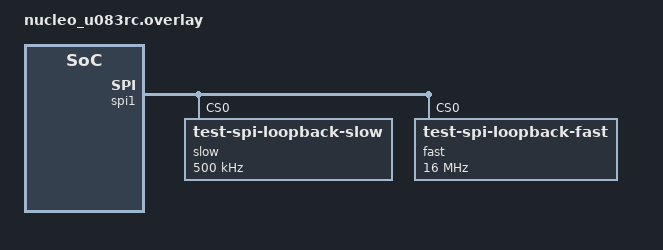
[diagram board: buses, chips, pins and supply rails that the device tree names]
/*
 * SPDX-FileCopyrightText: Copyright The Zephyr Project Contributors
 * SPDX-License-Identifier: Apache-2.0
 */

/* Connect D11 (PA7, MOSI) to D12 (PA6, MISO) */
&spi1 {
	dmas = <&dmamux1 2 37 (STM32_DMA_PERIPH_TX | STM32_DMA_PRIORITY_HIGH)>,
	       <&dmamux1 1 36 (STM32_DMA_PERIPH_RX | STM32_DMA_PRIORITY_HIGH)>;
	dma-names = "tx", "rx";

	slow@0 {
		compatible = "test-spi-loopback-slow";
		reg = <0>;
		spi-max-frequency = <500000>;
	};

	fast@0 {
		compatible = "test-spi-loopback-fast";
		reg = <0>;
		spi-max-frequency = <16000000>;
	};
};
